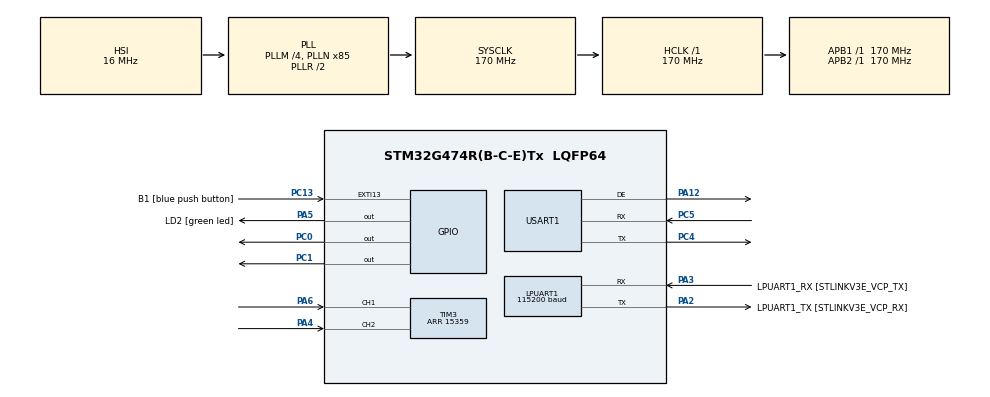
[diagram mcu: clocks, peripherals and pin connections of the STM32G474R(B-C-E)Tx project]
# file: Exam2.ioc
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LPUART1.BaudRate=115200
LPUART1.WordLength=UART_WORDLENGTH_8B
Mcu.Family=STM32G4
Mcu.Name=STM32G474R(B-C-E)Tx
Mcu.Package=LQFP64
NVIC.EXTI15_10_IRQn=true\:0\:0\:false\:false\:true\:true\:true\:true
NVIC.PriorityGroup=NVIC_PRIORITYGROUP_4
PA12.Mode=Hardware Flow Control (RS485)
PA12.Signal=USART1_DE
PA13.GPIO_Label=T_SWDIO
PA13.Mode=Serial_Wire
PA13.Signal=SYS_JTMS-SWDIO
PA14.GPIO_Label=T_SWCLK
PA14.Mode=Serial_Wire
PA14.Signal=SYS_JTCK-SWCLK
PA2.GPIO_Label=LPUART1_TX [STLINKV3E_VCP_RX]
PA2.Mode=Asynchronous
PA2.Signal=LPUART1_TX
PA3.GPIO_Label=LPUART1_RX [STLINKV3E_VCP_TX]
PA3.Mode=Asynchronous
PA3.Signal=LPUART1_RX
PA4.Signal=S_TIM3_CH2
PA5.GPIO_Label=LD2 [green led]
PA5.Signal=GPIO_Output
PA6.Signal=S_TIM3_CH1
PB3.GPIO_Label=T_SWO
PB3.Signal=SYS_JTDO-SWO
PC0.Signal=GPIO_Output
PC1.Signal=GPIO_Output
PC13.GPIO_Label=B1 [blue push button]
PC13.Signal=GPXTI13
PC14-OSC32_IN.Mode=LSE-External-Oscillator
PC14-OSC32_IN.Signal=RCC_OSC32_IN
PC15-OSC32_OUT.Mode=LSE-External-Oscillator
PC15-OSC32_OUT.Signal=RCC_OSC32_OUT
PC4.Mode=Asynchronous
PC4.Signal=USART1_TX
PC5.Mode=Asynchronous
PC5.Signal=USART1_RX
PF0-OSC_IN.Mode=HSE-External-Oscillator
PF0-OSC_IN.Signal=RCC_OSC_IN
PF1-OSC_OUT.Mode=HSE-External-Oscillator
PF1-OSC_OUT.Signal=RCC_OSC_OUT
ProjectManager.HeapSize=0x200
ProjectManager.StackSize=0x400
ProjectManager.TargetToolchain=STM32CubeIDE
RCC.ADC12Freq_Value=170000000
RCC.ADC345Freq_Value=170000000
RCC.AHBFreq_Value=170000000
RCC.APB1Freq_Value=170000000
RCC.APB1TimFreq_Value=170000000
RCC.APB2Freq_Value=170000000
RCC.APB2TimFreq_Value=170000000
RCC.CortexFreq_Value=170000000
RCC.EXTERNAL_CLOCK_VALUE=12288000
RCC.HCLKFreq_Value=170000000
RCC.HSE_VALUE=24000000
RCC.HSI48_VALUE=48000000
RCC.HSI_VALUE=16000000
RCC.PLLM=RCC_PLLM_DIV4
RCC.PLLN=85
RCC.RTCClockSelection=RCC_RTCCLKSOURCE_LSE
RCC.SYSCLKFreq_VALUE=170000000
RCC.SYSCLKSource=RCC_SYSCLKSOURCE_PLLCLK
RCC.USBFreq_Value=170000000
RCC.VCOOutputFreq_Value=340000000
SH.S_TIM3_CH1.0=TIM3_CH1,Encoder_Interface
SH.S_TIM3_CH2.0=TIM3_CH2,Encoder_Interface
TIM3.EncoderMode=TIM_ENCODERMODE_TI12
TIM3.PeriodNoDither=15359
USART1.VirtualMode-Asynchronous=VM_ASYNC
USART1.VirtualMode-Hardware\ Flow\ Control\ (RS485)=VM_ASYNC
VP_SYS_VS_DBSignals.Mode=DisableDeadBatterySignals
board=NUCLEO-G474RE

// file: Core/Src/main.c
/* USER CODE BEGIN Header */
/**
  ******************************************************************************
  * @file           : main.c
  * @brief          : Main program body
  ******************************************************************************
  * @attention
  *
  * Copyright (c) 2024 STMicroelectronics.
  * All rights reserved.
  *
  * This software is licensed under terms that can be found in the LICENSE file
  * in the root directory of this software component.
  * If no LICENSE file comes with this software, it is provided AS-IS.
  *
  ******************************************************************************
  */
/* USER CODE END Header */
#include "main.h"

/* USER CODE BEGIN Includes */
#include "stdio.h"
#include "string.h"
/* USER CODE END Includes */

UART_HandleTypeDef hlpuart1;
UART_HandleTypeDef huart1;

TIM_HandleTypeDef htim3;

/* USER CODE BEGIN PV */
float QEIReadRaw;
float rad;
uint16_t a = 1;
uint16_t b = 0;

uint8_t RxBuffer[100];
uint8_t TxBuffer[100];
/* USER CODE END PV */

void SystemClock_Config(void);
static void MX_GPIO_Init(void);
static void MX_LPUART1_UART_Init(void);
static void MX_TIM3_Init(void);
static void MX_USART1_UART_Init(void);
/* USER CODE BEGIN PFP */
void UARTPollingMethod();
/* USER CODE END PFP */

int main(void)
{

  /* MCU Configuration--------------------------------------------------------*/

  /* Reset of all peripherals, Initializes the Flash interface and the Systick. */
  HAL_Init();

  /* Configure the system clock */
  SystemClock_Config();

  /* Initialize all configured peripherals */
  MX_GPIO_Init();
  MX_LPUART1_UART_Init();
  MX_TIM3_Init();
  MX_USART1_UART_Init();
  /* USER CODE BEGIN 2 */
  HAL_TIM_Encoder_Start(&htim3,TIM_CHANNEL_ALL);
  uint8_t text[] = "HELLO WORLD";
  HAL_UART_Transmit(&huart1,text, 11, 10);
  /* USER CODE END 2 */

  /* Infinite loop */
  while (1)
  {

    /* USER CODE BEGIN 3 */
	  QEIReadRaw = __HAL_TIM_GET_COUNTER(&htim3);
	  rad = (QEIReadRaw/3072)*2*3.14;
		HAL_GPIO_WritePin(GPIOC, GPIO_PIN_0, 1);
		HAL_GPIO_WritePin(GPIOC, GPIO_PIN_1, 0);
	if(HAL_GPIO_ReadPin(GPIOC, GPIO_PIN_13) == 1)
	{
		HAL_GPIO_TogglePin(GPIOC, GPIO_PIN_0);
		HAL_GPIO_TogglePin(GPIOC, GPIO_PIN_1);
	}
	UARTPollingMethod();
  }
  /* USER CODE END 3 */
}

void SystemClock_Config(void)
{
  RCC_OscInitTypeDef RCC_OscInitStruct = {0};
  RCC_ClkInitTypeDef RCC_ClkInitStruct = {0};

  /** Configure the main internal regulator output voltage
  */
  HAL_PWREx_ControlVoltageScaling(PWR_REGULATOR_VOLTAGE_SCALE1_BOOST);

  /** Initializes the RCC Oscillators according to the specified parameters
  * in the RCC_OscInitTypeDef structure.
  */
  RCC_OscInitStruct.OscillatorType = RCC_OSCILLATORTYPE_HSI;
  RCC_OscInitStruct.HSIState = RCC_HSI_ON;
  RCC_OscInitStruct.HSICalibrationValue = RCC_HSICALIBRATION_DEFAULT;
  RCC_OscInitStruct.PLL.PLLState = RCC_PLL_ON;
  RCC_OscInitStruct.PLL.PLLSource = RCC_PLLSOURCE_HSI;
  RCC_OscInitStruct.PLL.PLLM = RCC_PLLM_DIV4;
  RCC_OscInitStruct.PLL.PLLN = 85;
  RCC_OscInitStruct.PLL.PLLP = RCC_PLLP_DIV2;
  RCC_OscInitStruct.PLL.PLLQ = RCC_PLLQ_DIV2;
  RCC_OscInitStruct.PLL.PLLR = RCC_PLLR_DIV2;
  if (HAL_RCC_OscConfig(&RCC_OscInitStruct) != HAL_OK)
  {
    Error_Handler();
  }

  /** Initializes the CPU, AHB and APB buses clocks
  */
  RCC_ClkInitStruct.ClockType = RCC_CLOCKTYPE_HCLK|RCC_CLOCKTYPE_SYSCLK
                              |RCC_CLOCKTYPE_PCLK1|RCC_CLOCKTYPE_PCLK2;
  RCC_ClkInitStruct.SYSCLKSource = RCC_SYSCLKSOURCE_PLLCLK;
  RCC_ClkInitStruct.AHBCLKDivider = RCC_SYSCLK_DIV1;
  RCC_ClkInitStruct.APB1CLKDivider = RCC_HCLK_DIV1;
  RCC_ClkInitStruct.APB2CLKDivider = RCC_HCLK_DIV1;

  if (HAL_RCC_ClockConfig(&RCC_ClkInitStruct, FLASH_LATENCY_4) != HAL_OK)
  {
    Error_Handler();
  }
}

static void MX_LPUART1_UART_Init(void)
{

  hlpuart1.Instance = LPUART1;
  hlpuart1.Init.BaudRate = 115200;
  hlpuart1.Init.WordLength = UART_WORDLENGTH_8B;
  hlpuart1.Init.StopBits = UART_STOPBITS_1;
  hlpuart1.Init.Parity = UART_PARITY_NONE;
  hlpuart1.Init.Mode = UART_MODE_TX_RX;
  hlpuart1.Init.HwFlowCtl = UART_HWCONTROL_NONE;
  hlpuart1.Init.OneBitSampling = UART_ONE_BIT_SAMPLE_DISABLE;
  hlpuart1.Init.ClockPrescaler = UART_PRESCALER_DIV1;
  hlpuart1.AdvancedInit.AdvFeatureInit = UART_ADVFEATURE_NO_INIT;
  if (HAL_UART_Init(&hlpuart1) != HAL_OK)
  {
    Error_Handler();
  }
  if (HAL_UARTEx_SetTxFifoThreshold(&hlpuart1, UART_TXFIFO_THRESHOLD_1_8) != HAL_OK)
  {
    Error_Handler();
  }
  if (HAL_UARTEx_SetRxFifoThreshold(&hlpuart1, UART_RXFIFO_THRESHOLD_1_8) != HAL_OK)
  {
    Error_Handler();
  }
  if (HAL_UARTEx_DisableFifoMode(&hlpuart1) != HAL_OK)
  {
    Error_Handler();
  }

}

static void MX_USART1_UART_Init(void)
{

  huart1.Instance = USART1;
  huart1.Init.BaudRate = 115200;
  huart1.Init.WordLength = UART_WORDLENGTH_8B;
  huart1.Init.StopBits = UART_STOPBITS_1;
  huart1.Init.Parity = UART_PARITY_NONE;
  huart1.Init.Mode = UART_MODE_TX_RX;
  huart1.Init.HwFlowCtl = UART_HWCONTROL_NONE;
  huart1.Init.OverSampling = UART_OVERSAMPLING_16;
  huart1.Init.OneBitSampling = UART_ONE_BIT_SAMPLE_DISABLE;
  huart1.Init.ClockPrescaler = UART_PRESCALER_DIV1;
  huart1.AdvancedInit.AdvFeatureInit = UART_ADVFEATURE_NO_INIT;
  if (HAL_RS485Ex_Init(&huart1, UART_DE_POLARITY_HIGH, 0, 0) != HAL_OK)
  {
    Error_Handler();
  }
  if (HAL_UARTEx_SetTxFifoThreshold(&huart1, UART_TXFIFO_THRESHOLD_1_8) != HAL_OK)
  {
    Error_Handler();
  }
  if (HAL_UARTEx_SetRxFifoThreshold(&huart1, UART_RXFIFO_THRESHOLD_1_8) != HAL_OK)
  {
    Error_Handler();
  }
  if (HAL_UARTEx_DisableFifoMode(&huart1) != HAL_OK)
  {
    Error_Handler();
  }

}

static void MX_TIM3_Init(void)
{

  TIM_Encoder_InitTypeDef sConfig = {0};
  TIM_MasterConfigTypeDef sMasterConfig = {0};

  htim3.Instance = TIM3;
  htim3.Init.Prescaler = 0;
  htim3.Init.CounterMode = TIM_COUNTERMODE_UP;
  htim3.Init.Period = 15359;
  htim3.Init.ClockDivision = TIM_CLOCKDIVISION_DIV1;
  htim3.Init.AutoReloadPreload = TIM_AUTORELOAD_PRELOAD_DISABLE;
  sConfig.EncoderMode = TIM_ENCODERMODE_TI12;
  sConfig.IC1Polarity = TIM_ICPOLARITY_RISING;
  sConfig.IC1Selection = TIM_ICSELECTION_DIRECTTI;
  sConfig.IC1Prescaler = TIM_ICPSC_DIV1;
  sConfig.IC1Filter = 0;
  sConfig.IC2Polarity = TIM_ICPOLARITY_RISING;
  sConfig.IC2Selection = TIM_ICSELECTION_DIRECTTI;
  sConfig.IC2Prescaler = TIM_ICPSC_DIV1;
  sConfig.IC2Filter = 0;
  if (HAL_TIM_Encoder_Init(&htim3, &sConfig) != HAL_OK)
  {
    Error_Handler();
  }
  sMasterConfig.MasterOutputTrigger = TIM_TRGO_RESET;
  sMasterConfig.MasterSlaveMode = TIM_MASTERSLAVEMODE_DISABLE;
  if (HAL_TIMEx_MasterConfigSynchronization(&htim3, &sMasterConfig) != HAL_OK)
  {
    Error_Handler();
  }

}

static void MX_GPIO_Init(void)
{
  GPIO_InitTypeDef GPIO_InitStruct = {0};

  /* GPIO Ports Clock Enable */
  __HAL_RCC_GPIOC_CLK_ENABLE();
  __HAL_RCC_GPIOF_CLK_ENABLE();
  __HAL_RCC_GPIOA_CLK_ENABLE();
  __HAL_RCC_GPIOB_CLK_ENABLE();

  /*Configure GPIO pin Output Level */
  HAL_GPIO_WritePin(GPIOC, GPIO_PIN_0|GPIO_PIN_1, GPIO_PIN_RESET);

  /*Configure GPIO pin Output Level */
  HAL_GPIO_WritePin(LD2_GPIO_Port, LD2_Pin, GPIO_PIN_RESET);

  /*Configure GPIO pin : B1_Pin */
  GPIO_InitStruct.Pin = B1_Pin;
  GPIO_InitStruct.Mode = GPIO_MODE_IT_RISING;
  GPIO_InitStruct.Pull = GPIO_NOPULL;
  HAL_GPIO_Init(B1_GPIO_Port, &GPIO_InitStruct);

  /*Configure GPIO pins : PC0 PC1 */
  GPIO_InitStruct.Pin = GPIO_PIN_0|GPIO_PIN_1;
  GPIO_InitStruct.Mode = GPIO_MODE_OUTPUT_PP;
  GPIO_InitStruct.Pull = GPIO_NOPULL;
  GPIO_InitStruct.Speed = GPIO_SPEED_FREQ_LOW;
  HAL_GPIO_Init(GPIOC, &GPIO_InitStruct);

  /*Configure GPIO pin : LD2_Pin */
  GPIO_InitStruct.Pin = LD2_Pin;
  GPIO_InitStruct.Mode = GPIO_MODE_OUTPUT_PP;
  GPIO_InitStruct.Pull = GPIO_NOPULL;
  GPIO_InitStruct.Speed = GPIO_SPEED_FREQ_LOW;
  HAL_GPIO_Init(LD2_GPIO_Port, &GPIO_InitStruct);

  /* EXTI interrupt init*/
  HAL_NVIC_SetPriority(EXTI15_10_IRQn, 0, 0);
  HAL_NVIC_EnableIRQ(EXTI15_10_IRQn);

}

/* USER CODE BEGIN 4 */
void UARTPollingMethod()
	{
	//read UART 10 char with in 10s
	HAL_StatusTypeDef HAL_status = HAL_UART_Receive(&huart1, RxBuffer, 100, 10000);

	//if complete read 10 char
	if(HAL_status == HAL_OK)
	{

		RxBuffer[100] = '\0';

		sprintf((char*)TxBuffer,"Received : %s\r\n",RxBuffer);
		HAL_UART_Transmit(&huart1, TxBuffer, strlen((char*)TxBuffer), 10);
	}
	else if(HAL_status == HAL_TIMEOUT)
	{
		//(for string only) Add string stop symbol \0 to end string
		uint32_t lastCharPos = huart1.RxXferSize - huart1.RxXferCount;
		RxBuffer[lastCharPos] = '\0';

		//return received char
		sprintf((char*)TxBuffer,"Received Timeout : %s\r\n",RxBuffer);
		HAL_UART_Transmit(&huart1, TxBuffer, strlen((char*)TxBuffer), 10);

	}
}
/* USER CODE END 4 */

void Error_Handler(void)
{
  __disable_irq();
  while (1)
  {
  }
}
